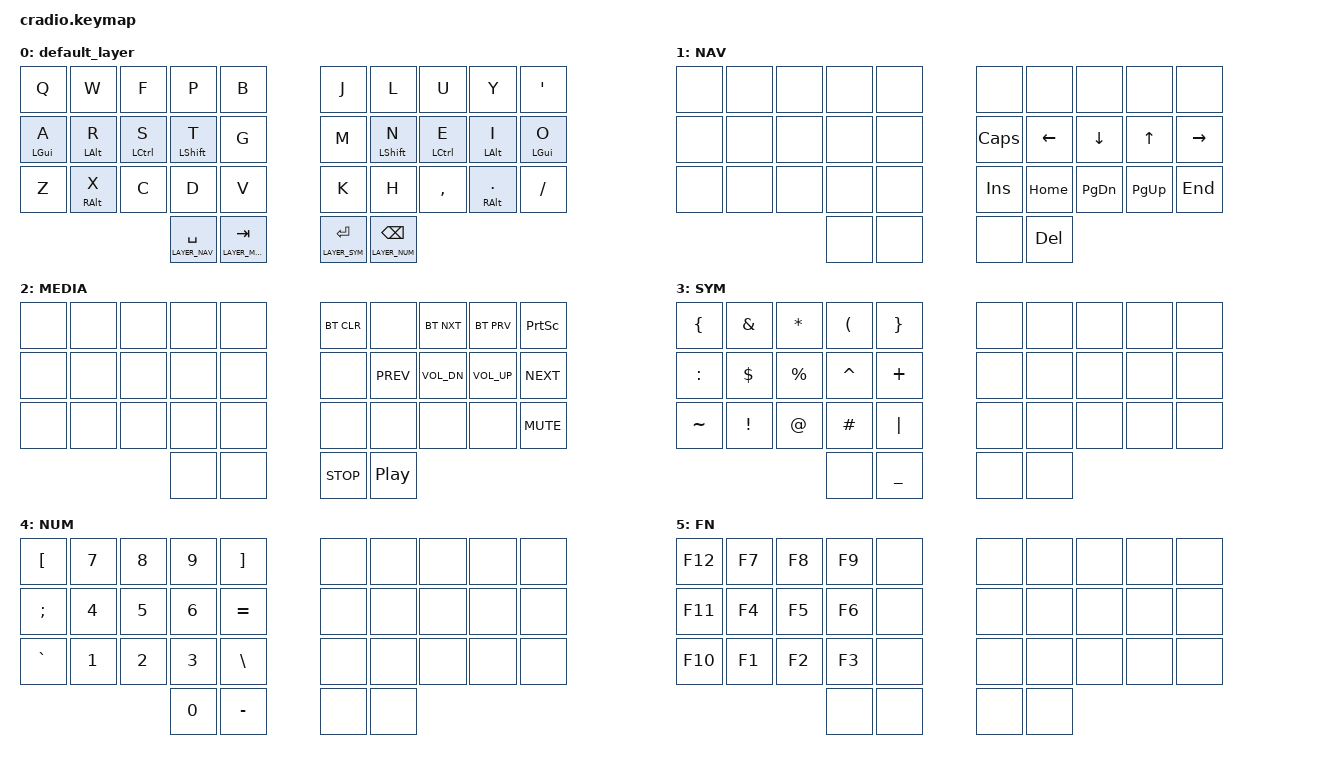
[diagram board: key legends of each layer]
/*
 * Copyright (c) 2020 The ZMK Contributors
 *
 * SPDX-License-Identifier: MIT
 */

#include <behaviors.dtsi>
#include <dt-bindings/zmk/keys.h>
#include <dt-bindings/zmk/bt.h>

#define LAYER_COLEMAK 0
#define LAYER_NAV 1
#define LAYER_MEDIA 2
#define LAYER_SYM 3
#define LAYER_NUM 4
#define LAYER_FN 5


&mt {
  //  flavor = "tap-preferred";
   // tapping_term_ms = <200>;
};

/ { 

    macros {
        macro_chrome: macro_chrome {
            label = "macro_chrome";
            compatible = "zmk,behavior-macro";
            #binding-cells = <0>;
            wait-ms = <700>;
            tap-ms = <1>;
            bindings =
                <&macro_tap &kp LGUI>,
                <&kp C &kp H &kp R &kp O &kp M &kp E>,
                <&macro_wait_time 500>,
                <&kp ENTER>;
        };

        macro_calc: macro_calc {
            label = "macro_calc";
            compatible = "zmk,behavior-macro";
            #binding-cells = <0>;
            wait-ms = <700>;
            tap-ms = <1>;
            bindings =
                <&macro_tap &kp LGUI>,
                <&kp C &kp A &kp L &kp C &kp U &kp L &kp A &kp T &kp O &kp R>,
                <&macro_wait_time 500>,
                <&kp ENTER>;
        };

        macro_slack: macro_slack {
            label = "macro_slack";
            compatible = "zmk,behavior-macro";
            #binding-cells = <0>;
            wait-ms = <700>;
            tap-ms = <1>;
            bindings =
                <&macro_tap &kp LGUI>,
                <&kp S &kp L &kp A &kp C &kp K>,
                <&macro_wait_time 500>,
                <&kp ENTER>;
        };

        macro_gmail: macro_gmail {
            label = "macro_gmail";
            compatible = "zmk,behavior-macro";
            #binding-cells = <0>;
            wait-ms = <30>;
            tap-ms = <1>;
            bindings =
                <&macro_press &kp LCTRL>,
                <&macro_tap &kp T>,
                <&macro_release &kp LCTRL>,
                <&macro_tap &kp G &kp M &kp A &kp I &kp L &kp DOT &kp C &kp O &kp M &kp ENTER>;
        };

        macro_messenger: macro_messenger {
            label = "macro_messenger";
            compatible = "zmk,behavior-macro";
            #binding-cells = <0>;
            wait-ms = <30>;
            tap-ms = <1>;
            bindings =
                <&macro_press &kp LCTRL>,
                <&macro_tap &kp T>,
                <&macro_release &kp LCTRL>,
                <&macro_tap &kp M &kp E &kp S &kp S &kp E &kp N &kp G &kp E &kp R &kp DOT &kp C &kp O &kp M &kp ENTER>;
        };
    };

    combos {
        /*                KEY POSITIONS

            ╭────────────────────╮ ╭────────────────────╮
            │  0   1   2   3   4 │ │  5   6   7   8   9 │
            │ 10  11  12  13  14 │ │ 15  16  17  18  19 │
            │ 20  21  22  23  24 │ │ 25  26  27  28  29 │
            ╰───────────╮ 30  31 │ │ 32  33 ╭───────────╯
                        ╰────────╯ ╰────────╯            */
                        
        compatible = "zmk,combos";

        // keys to key combos
        combo_esc {
            timeout-ms = <50>;
            key-positions = <0 1>;
            bindings = <&kp ESC>;
        };
        combo_lpar {
            timeout-ms = <50>;
            key-positions = <3 4>;
            bindings = <&kp LPAR>;
        };
        combo_rpar {
            timeout-ms = <50>;
            key-positions = <5 6>;
            bindings = <&kp RPAR>;
        };
        combo_comma {
            timeout-ms = <50>;
            key-positions = <30 31>;
            bindings = <&kp COMMA>;
            layers = <LAYER_NUM>;
        };
        
        // keys to layer combos
        combo_fn {
            timeout-ms = <50>;
            key-positions = <32 33>;
            bindings = <&mo LAYER_FN>;
        };
        
        // keys to macro combos
        // QWF to open chrome
        combo_chrome {
            timeout-ms = <50>;
            key-positions = <0 1 2>;
            bindings = <&macro_chrome>;
        };
        // LUY - calculator
        combo_calc {
            timeout-ms = <50>;
            key-positions = <6 7 8>;
            bindings = <&macro_calc>;
        };
        // - ,./ to open slack
        combo_slack {
            timeout-ms = <50>;
            key-positions = <27 28 29>;
            bindings = <&macro_slack>;
        };
        // - UY' to open gmail
        combo_gmail {
            timeout-ms = <50>;
            key-positions = <7 8 9>;
            bindings = <&macro_gmail>;
        };
        // - ZXC to open messenger
        combo_messenger {
            timeout-ms = <50>;
            key-positions = <20 21 22>;
            bindings = <&macro_messenger>;
        };
    };

    behaviors {
        hm: homerow_mods {
            compatible = "zmk,behavior-hold-tap";
            label = "HOMEROW_MODS";
            #binding-cells = <2>;
            tapping-term-ms = <150>;
            quick-tap-ms = <0>;
            flavor = "tap-preferred";
            bindings = <&kp>, <&kp>;
        };
    };

        keymap {
                compatible = "zmk,keymap";
                
            /*
            * Default Layer: COLEMAK_DHM GACS
            *
            *   -----------------------------------.     ,-----------------------------------
            *  |      |      |      |       (     |     |       )     |      |      |      |
            *  |   Q  |   W  |   F  |   P  |   B  |     |   J  |   L  |   U  |   Y  | ' "  |
            *  -------+------+------+------+------|     |------+------+------+------+------+
            * | GUI/A| Alt/R|Ctrl/S|LSft/T|   G  |      |  M   |LSft/N|Ctrl/E| Alt/I| GUI/O|
            * +------+------+------+------+------+      +------+------+------+------+------+
            * |   Z  |ALGR/X|   C  |   D  |   V  |      |   K  |   H  | ,  < |ALGR.>| /  ? | 
            * ---------------+------+------+------+     +------+------+------+--------------
            *                       |      |      |     |     Fn     |
            *                       |Space |  Tab |     |Enter| Bksp |
            *                       |  Nav | Media|     | Sym | Num  |
            *                       ---------------     --------------
            */
       		default_layer {
                bindings = <
                    &kp Q      &kp W      &kp F       &kp P        &kp B 			&kp J         &kp L        &kp U       &kp Y        &kp QUOT 
                    &hm LGUI A &hm LALT R &hm LCTRL S &hm LSHIFT T &kp G            &kp M         &hm LSHIFT N &hm LCTRL E &hm LALT I   &hm LGUI O
                    &kp Z      &hm RALT X &kp C       &kp D        &kp V			&kp K         &kp H        &kp COMMA   &hm RALT DOT &kp SLASH
                                                      &lt LAYER_NAV SPC  &lt LAYER_MEDIA TAB  	&lt LAYER_SYM ENTER &lt LAYER_NUM BSPC 
                >;
		    };
            
            /*
            * Navigation Layer
            *
            *   -----------------------------------.     ,-----------------------------------
            *  |      |      |      |      |      |     |      |      |      |      |      |
            *  -------+------+------+------+------|     |------+------+------+------+------+
            * |      |      |      |      |      |      | Caps | Left | Down |  Up  | Right|
            * +------+------+------+------+------+      +------+------+------+------+------+
            * |      |      |      |      |      |      |Insert| Home | PgDn | PgUp |  End | 
            * ---------------+------+------+------+     +------+------+------+--------------
            *                       |      |      |     |     |Delete|
            *                       ---------------     --------------
            */
       		nav_layer {
                label = "NAV";
                bindings = <
                    &none &none &none &none &none	&none    &none    &none     &none     &none 
                    &none &none &none &none &none 	&kp CAPS &kp LEFT &kp DOWN  &kp UP    &kp RIGHT 
                    &none &none	&none &none &none 	&kp INS  &kp HOME &kp PG_DN &kp PG_UP &kp END 
                                      &none &none  	&none    &kp DEL 
                >;
            };
		
            /*
            * Media Layer
            *
            *   -----------------------------------.     ,-----------------------------------
            *  |      |      |      |      |      |     |BT_CLR|      |BT_NXT| BT_PRV| PrtSc|
            *  -------+------+------+------+------|     |------+------+------+------+------+
            * |      |      |      |      |      |      |      | Prev | VolDn| VolUp| Next |
            * +------+------+------+------+------+      +------+------+------+------+------+
            * |      |      |      |      |      |      |      |      |      |      | Mute | 
            * ---------------+------+------+------+     +------+------+------+--------------
            *                       |      |      |     | Stop | Pause|
            *                       ---------------     --------------
            */
            media_layer {
                label = "MEDIA";
                bindings = <
                    &none &none &none &none &none	&bt BT_CLR &none      &bt BT_NXT   &bt BT_PRV   &kp PSCRN 
                    &none &none &none &none &none   &none      &kp C_PREV &kp C_VOL_DN &kp C_VOL_UP &kp C_NEXT
                    &none &none	&none &none &none   &none      &none      &none        &none        &kp C_MUTE
                                      &none &none  	&kp C_STOP &kp C_PP 
                >;
            };	


            /*
            * Symbol Layer
            *
            *   -----------------------------------.     ,-----------------------------------
            *  |   {  |   &  |   *  |   (  |   }  |     |      |      |      |      |      |
            *  -------+------+------+------+------|     |------+------+------+------+------+
            * |   :  |   $  |   %  |   ^  |   +  |      |      |      |      |      |      |
            * +------+------+------+------+------+      +------+------+------+------+------+
            * |   ~  |   !  |   @  |   #  |   |  |      |      |      |      |      |      | 
            * ---------------+------+------+------+     +------+------+------+--------------
            *                       |      |  _   |     |      |      |
            *                       ---------------     --------------
            */
            sym_layer {
                label = "SYM";
                bindings = <
                    &kp LBRC  &kp AMPS &kp STAR  &kp LPAR  &kp RBRC 	&none &none &none &none &none
                    &kp COLON &kp DLLR &kp PRCNT &kp CARET &kp PLUS  	&none &none &none &none &none 
                    &kp TILDE &kp EXCL &kp AT    &kp HASH  &kp PIPE   	&none &none &none &none &none   
                                                 &none     &kp UNDER  	&none &none 
                >;
            };	

            /*
            * Number Layer
            *
            *   -----------------------------------.     ,-----------------------------------
            *  |   [  |   7  |   8  |   9  |   ]  |     |      |      |      |      |      |
            *  -------+------+------+------+------|     |------+------+------+------+------+
            * |   ;  |   4  |   5  |   6  |   =  |      |      |      |      |      |      |
            * +------+------+------+------+------+      +------+------+------+------+------+
            * |   `  |   1  |   2  |   3  |   \  |      |      |      |      |      |      | 
            * ---------------+------+------+------+     +------+------+------+--------------
            *                       |       ,     |     |      |      |
            *                       |   0  |  -   |     |      |      |
            *                       ---------------     --------------
            */
            num_layer {
                label = "NUM";
                bindings = <
                    &kp LBKT  &kp N7 &kp N8 &kp N9 &kp RBKT 	&none &none &none &none &none
                    &kp SEMI  &kp N4 &kp N5 &kp N6 &kp EQUAL  	&none &none &none &none &none 
                    &kp GRAVE &kp N1 &kp N2 &kp N3 &kp BSLH   	&none &none &none &none &none   
                                            &kp N0 &kp MINUS  	&none &none 
                >;
            };	

            /*
            * Function Layer
            *
            *   -----------------------------------.     ,-----------------------------------
            *  | F12  |  F7  |  F8  |  F9  |      |     |      |      |      |      |      |
            *  -------+------+------+------+------|     |------+------+------+------+------+
            * |  F11 |  F4  |  F5  |  F6  |      |      |      |      |      |      |      |
            * +------+------+------+------+------+      +------+------+------+------+------+
            * |  F10 |  F1  |  F2  |  F3  |      |      |      |      |      |      |      | 
            * ---------------+------+------+------+     +------+------+------+--------------
            *                       |      |      |     |      |      |
            *                       ---------------     --------------
            */
            fn_layer {
                label = "FN";
                bindings = <
                    &kp F12 &kp F7 &kp F8 &kp F9 &none 	    &none &none &none &none &none
                    &kp F11 &kp F4 &kp F5 &kp F6 &none  	&none &none &none &none &none 
                    &kp F10 &kp F1 &kp F2 &kp F3 &none   	&none &none &none &none &none   
                                          &none  &none  	&none &none 
                >;
            };	
        
	};
};
